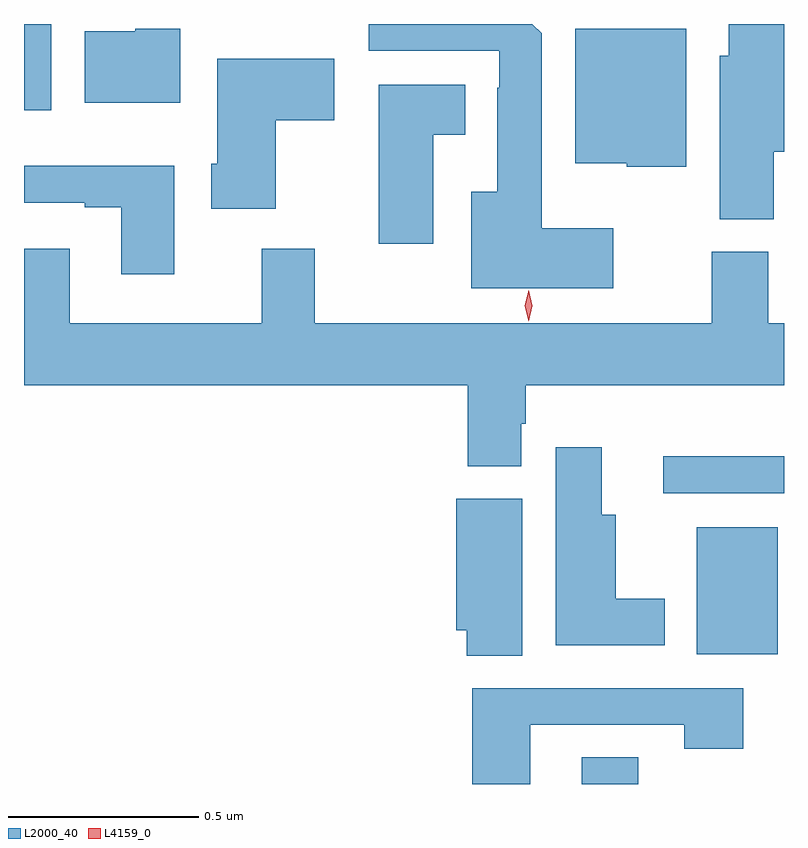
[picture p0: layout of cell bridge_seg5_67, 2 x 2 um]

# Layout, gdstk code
import gdstk
lib = gdstk.Library(unit=1e-6, precision=1e-09)
def R(c, l, rs):  # rectangles x0, y0, x1, y1
    for r in rs: c.add(gdstk.rectangle(r[:2], r[2:], *l))
def P(c, l, *ps):  # polygons
    for p in ps: c.add(gdstk.Polygon(p, *l))
L2000_40 = (2000, 40)
L4159_0 = (4159, 0)

bridge_seg5_67 = lib.new_cell('bridge_seg5_67')
R(bridge_seg5_67, L2000_40, [(146.561,912.987,146.709,913.058), (146.864,913.328,147.076,913.663), (146.775,913.752,147.093,913.85), (145.093,914.76,145.165,914.987)])
P(bridge_seg5_67, L2000_40, [(146.644,914.449),(146.455,914.449),(146.455,914.963),(146.431,914.987),(146,914.987),(146,914.916),(146.343,914.916),(146.343,914.819),(146.339,914.819),(146.339,914.545),(146.27,914.545),(146.27,914.291),(146.644,914.291)],
  [(147.066,914.651),(147.093,914.651),(147.093,914.987),(146.948,914.987),(146.948,914.904),(146.924,914.904),(146.924,914.473),(147.066,914.473)],
  [(145.504,914.974),(145.386,914.974),(145.386,914.968),(145.253,914.968),(145.253,914.78),(145.504,914.78)],
  [(146.836,914.974),(146.543,914.974),(146.543,914.621),(146.679,914.621),(146.679,914.612),(146.836,914.612)],
  [(145.756,914.734),(145.909,914.734),(145.909,914.896),(145.601,914.896),(145.601,914.619),(145.586,914.619),(145.586,914.501),(145.756,914.501)],
  [(146.17,914.696),(146.254,914.696),(146.254,914.827),(146.027,914.827),(146.027,914.409),(146.17,914.409)],
  [(145.489,914.614),(145.093,914.614),(145.093,914.517),(145.253,914.517),(145.253,914.505),(145.349,914.505),(145.349,914.328),(145.489,914.328)],
  [(146.401,913.935),(146.414,913.935),(146.414,914.036),(147.093,914.036),(147.093,914.2),(147.051,914.2),(147.051,914.388),(146.903,914.388),(146.903,914.2),(145.858,914.2),(145.858,914.395),(145.718,914.395),(145.718,914.2),(145.213,914.2),(145.213,914.395),(145.093,914.395),(145.093,914.036),(146.261,914.036),(146.261,913.823),(146.401,913.823)],
  [(146.779,913.474),(146.65,913.474),(146.65,913.696),(146.614,913.696),(146.614,913.873),(146.492,913.873),(146.492,913.352),(146.779,913.352)],
  [(146.404,913.738),(146.231,913.738),(146.231,913.391),(146.258,913.391),(146.258,913.324),(146.404,913.324)],
  [(146.425,913.143),(146.83,913.143),(146.83,913.08),(146.986,913.08),(146.986,913.239),(146.273,913.239),(146.273,912.987),(146.425,912.987)])
P(bridge_seg5_67, L4159_0, [(146.421,914.205),(146.421,914.205),(146.411,914.245),(146.421,914.286),(146.421,914.286),(146.421,914.286),(146.431,914.245),(146.421,914.205)])

lib.write_gds('bridge_seg5_67.gds')
